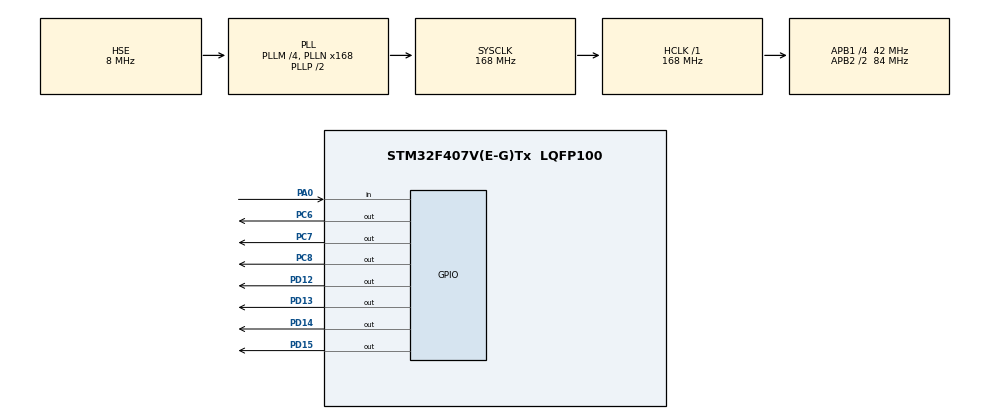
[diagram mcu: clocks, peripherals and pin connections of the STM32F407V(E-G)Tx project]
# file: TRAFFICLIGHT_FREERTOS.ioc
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FREERTOS.BinarySemaphores01=myBinarySem01,Dynamic,NULL
FREERTOS.Mutexes01=myMutex01,Dynamic,NULL
FREERTOS.Tasks01=first_road,0,128,StartDefaultTask,Default,NULL,Dynamic,NULL,NULL;second_road,0,128,StartTask02,Default,NULL,Dynamic,NULL,NULL;human_priority,-3,128,StartTask03,Default,NULL,Dynamic,NULL,NULL
FREERTOS.configUSE_NEWLIB_REENTRANT=1
Mcu.Family=STM32F4
Mcu.Name=STM32F407V(E-G)Tx
Mcu.Package=LQFP100
NVIC.PriorityGroup=NVIC_PRIORITYGROUP_4
NVIC.TIM1_UP_TIM10_IRQn=true\:15\:0\:false\:false\:true\:false\:false\:true\:true
NVIC.TimeBase=TIM1_UP_TIM10_IRQn
NVIC.TimeBaseIP=TIM1
PA0-WKUP.Signal=GPIO_Input
PA13.Mode=Serial_Wire
PA13.Signal=SYS_JTMS-SWDIO
PA14.Mode=Serial_Wire
PA14.Signal=SYS_JTCK-SWCLK
PC6.Signal=GPIO_Output
PC7.Signal=GPIO_Output
PC8.Signal=GPIO_Output
PD12.Signal=GPIO_Output
PD13.Signal=GPIO_Output
PD14.Signal=GPIO_Output
PD15.Signal=GPIO_Output
PH0-OSC_IN.Mode=HSE-External-Oscillator
PH0-OSC_IN.Signal=RCC_OSC_IN
PH1-OSC_OUT.Mode=HSE-External-Oscillator
PH1-OSC_OUT.Signal=RCC_OSC_OUT
ProjectManager.HeapSize=0x200
ProjectManager.StackSize=0x400
ProjectManager.TargetToolchain=STM32CubeIDE
RCC.48MHZClocksFreq_Value=84000000
RCC.AHBFreq_Value=168000000
RCC.APB1CLKDivider=RCC_HCLK_DIV4
RCC.APB1Freq_Value=42000000
RCC.APB1TimFreq_Value=84000000
RCC.APB2CLKDivider=RCC_HCLK_DIV2
RCC.APB2Freq_Value=84000000
RCC.APB2TimFreq_Value=168000000
RCC.CortexFreq_Value=168000000
RCC.HCLKFreq_Value=168000000
RCC.HSE_VALUE=8000000
RCC.HSI_VALUE=16000000
RCC.LSE_VALUE=32768
RCC.PLLM=4
RCC.PLLN=168
RCC.PLLSourceVirtual=RCC_PLLSOURCE_HSE
RCC.SYSCLKFreq_VALUE=168000000
RCC.SYSCLKSource=RCC_SYSCLKSOURCE_PLLCLK
RCC.VCOOutputFreq_Value=336000000
VP_FREERTOS_VS_CMSIS_V1.Mode=CMSIS_V1
VP_SYS_VS_tim1.Mode=TIM1
board=custom

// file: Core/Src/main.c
/* USER CODE BEGIN Header */
/**
  ******************************************************************************
  * @file           : main.c
  * @brief          : Main program body
  ******************************************************************************
  * @attention
  *
  * Copyright (c) 2024 STMicroelectronics.
  * All rights reserved.
  *
  * This software is licensed under terms that can be found in the LICENSE file
  * in the root directory of this software component.
  * If no LICENSE file comes with this software, it is provided AS-IS.
  *
  ******************************************************************************
  */
/* USER CODE END Header */
#include "main.h"
#include "cmsis_os.h"

osThreadId first_roadHandle;
osThreadId second_roadHandle;
osThreadId human_priorityHandle;
osMutexId myMutex01Handle;
osSemaphoreId myBinarySem01Handle;

void SystemClock_Config(void);
static void MX_GPIO_Init(void);
void StartDefaultTask(void const * argument);
void StartTask02(void const * argument);
void StartTask03(void const * argument);

int main(void)
{

  /* MCU Configuration--------------------------------------------------------*/

  /* Reset of all peripherals, Initializes the Flash interface and the Systick. */
  HAL_Init();

  /* Configure the system clock */
  SystemClock_Config();

  /* Initialize all configured peripherals */
  MX_GPIO_Init();

  /* Create the mutex(es) */
  /* definition and creation of myMutex01 */
  osMutexDef(myMutex01);
  myMutex01Handle = osMutexCreate(osMutex(myMutex01));

  /* Create the semaphores(s) */
  /* definition and creation of myBinarySem01 */
  osSemaphoreDef(myBinarySem01);
  myBinarySem01Handle = osSemaphoreCreate(osSemaphore(myBinarySem01), 1);

  /* Create the thread(s) */
  /* definition and creation of first_road */
  osThreadDef(first_road, StartDefaultTask, osPriorityNormal, 0, 128);
  first_roadHandle = osThreadCreate(osThread(first_road), NULL);

  /* definition and creation of second_road */
  osThreadDef(second_road, StartTask02, osPriorityNormal, 0, 128);
  second_roadHandle = osThreadCreate(osThread(second_road), NULL);

  /* definition and creation of human_priority */
  osThreadDef(human_priority, StartTask03, osPriorityIdle, 0, 128);
  human_priorityHandle = osThreadCreate(osThread(human_priority), NULL);

  /* Start scheduler */
  osKernelStart();

  /* We should never get here as control is now taken by the scheduler */

  /* Infinite loop */
  while (1)
  {

    /* USER CODE BEGIN 3 */
	  HAL_GPIO_TogglePin(GPIOC,GPIO_PIN_6);
	  HAL_Delay(1000);
  }
  /* USER CODE END 3 */
}

void SystemClock_Config(void)
{
  RCC_OscInitTypeDef RCC_OscInitStruct = {0};
  RCC_ClkInitTypeDef RCC_ClkInitStruct = {0};

  /** Configure the main internal regulator output voltage
  */
  __HAL_RCC_PWR_CLK_ENABLE();
  __HAL_PWR_VOLTAGESCALING_CONFIG(PWR_REGULATOR_VOLTAGE_SCALE1);

  /** Initializes the RCC Oscillators according to the specified parameters
  * in the RCC_OscInitTypeDef structure.
  */
  RCC_OscInitStruct.OscillatorType = RCC_OSCILLATORTYPE_HSE;
  RCC_OscInitStruct.HSEState = RCC_HSE_ON;
  RCC_OscInitStruct.PLL.PLLState = RCC_PLL_ON;
  RCC_OscInitStruct.PLL.PLLSource = RCC_PLLSOURCE_HSE;
  RCC_OscInitStruct.PLL.PLLM = 4;
  RCC_OscInitStruct.PLL.PLLN = 168;
  RCC_OscInitStruct.PLL.PLLP = RCC_PLLP_DIV2;
  RCC_OscInitStruct.PLL.PLLQ = 4;
  if (HAL_RCC_OscConfig(&RCC_OscInitStruct) != HAL_OK)
  {
    Error_Handler();
  }

  /** Initializes the CPU, AHB and APB buses clocks
  */
  RCC_ClkInitStruct.ClockType = RCC_CLOCKTYPE_HCLK|RCC_CLOCKTYPE_SYSCLK
                              |RCC_CLOCKTYPE_PCLK1|RCC_CLOCKTYPE_PCLK2;
  RCC_ClkInitStruct.SYSCLKSource = RCC_SYSCLKSOURCE_PLLCLK;
  RCC_ClkInitStruct.AHBCLKDivider = RCC_SYSCLK_DIV1;
  RCC_ClkInitStruct.APB1CLKDivider = RCC_HCLK_DIV4;
  RCC_ClkInitStruct.APB2CLKDivider = RCC_HCLK_DIV2;

  if (HAL_RCC_ClockConfig(&RCC_ClkInitStruct, FLASH_LATENCY_5) != HAL_OK)
  {
    Error_Handler();
  }
}

static void MX_GPIO_Init(void)
{
  GPIO_InitTypeDef GPIO_InitStruct = {0};

  /* GPIO Ports Clock Enable */
  __HAL_RCC_GPIOH_CLK_ENABLE();
  __HAL_RCC_GPIOA_CLK_ENABLE();
  __HAL_RCC_GPIOD_CLK_ENABLE();
  __HAL_RCC_GPIOC_CLK_ENABLE();

  /*Configure GPIO pin Output Level */
  HAL_GPIO_WritePin(GPIOD, GPIO_PIN_12|GPIO_PIN_13|GPIO_PIN_14|GPIO_PIN_15, GPIO_PIN_RESET);

  /*Configure GPIO pin Output Level */
  HAL_GPIO_WritePin(GPIOC, GPIO_PIN_6|GPIO_PIN_7|GPIO_PIN_8, GPIO_PIN_RESET);

  /*Configure GPIO pin : PA0 */
  GPIO_InitStruct.Pin = GPIO_PIN_0;
  GPIO_InitStruct.Mode = GPIO_MODE_INPUT;
  GPIO_InitStruct.Pull = GPIO_NOPULL;
  HAL_GPIO_Init(GPIOA, &GPIO_InitStruct);

  /*Configure GPIO pins : PD12 PD13 PD14 PD15 */
  GPIO_InitStruct.Pin = GPIO_PIN_12|GPIO_PIN_13|GPIO_PIN_14|GPIO_PIN_15;
  GPIO_InitStruct.Mode = GPIO_MODE_OUTPUT_PP;
  GPIO_InitStruct.Pull = GPIO_NOPULL;
  GPIO_InitStruct.Speed = GPIO_SPEED_FREQ_LOW;
  HAL_GPIO_Init(GPIOD, &GPIO_InitStruct);

  /*Configure GPIO pins : PC6 PC7 PC8 */
  GPIO_InitStruct.Pin = GPIO_PIN_6|GPIO_PIN_7|GPIO_PIN_8;
  GPIO_InitStruct.Mode = GPIO_MODE_OUTPUT_PP;
  GPIO_InitStruct.Pull = GPIO_NOPULL;
  GPIO_InitStruct.Speed = GPIO_SPEED_FREQ_LOW;
  HAL_GPIO_Init(GPIOC, &GPIO_InitStruct);

}

void StartDefaultTask(void const * argument)
{
  /* USER CODE BEGIN 5 */
  /* Infinite loop */
  for(;;)
  {
	  HAL_GPIO_WritePin(GPIOD, GPIO_PIN_14, GPIO_PIN_RESET); // Red off
	  HAL_GPIO_WritePin(GPIOD, GPIO_PIN_13, GPIO_PIN_RESET); // Yellow off

	  osSemaphoreRelease(myBinarySem01Handle); // Release semaphore for Traffic Light 2
	  HAL_Delay(2000);

	  HAL_GPIO_WritePin(GPIOD, GPIO_PIN_12, GPIO_PIN_SET); // Green on
	  HAL_Delay(5000);

	  HAL_GPIO_WritePin(GPIOD, GPIO_PIN_12, GPIO_PIN_RESET); // Green off
	  HAL_GPIO_WritePin(GPIOD, GPIO_PIN_13, GPIO_PIN_SET); // Yellow on
	  HAL_Delay(1000);

	  HAL_GPIO_WritePin(GPIOD, GPIO_PIN_13, GPIO_PIN_RESET); // Yellow off

	  osSemaphoreWait(myBinarySem01Handle, 100); // Wait for semaphore
	  HAL_GPIO_WritePin(GPIOD, GPIO_PIN_14, GPIO_PIN_SET); // Red on
	  HAL_Delay(5000);

	  HAL_GPIO_WritePin(GPIOD, GPIO_PIN_13, GPIO_PIN_SET); // Yellow on
	  HAL_Delay(1000);

  }
  /* USER CODE END 5 */
}

void StartTask02(void const * argument)
{
  /* USER CODE BEGIN StartTask02 */
  /* Infinite loop */
  for(;;)
  {
	  osSemaphoreWait(myBinarySem01Handle, 100); // Wait for semaphore
	  HAL_Delay(1000);

	  HAL_GPIO_WritePin(GPIOC, GPIO_PIN_8, GPIO_PIN_RESET); // Green off
	  HAL_GPIO_WritePin(GPIOC, GPIO_PIN_7, GPIO_PIN_SET); // Yellow on
	  HAL_Delay(1000);

	  HAL_GPIO_WritePin(GPIOC, GPIO_PIN_7, GPIO_PIN_RESET); // Yellow off
	  HAL_GPIO_WritePin(GPIOC, GPIO_PIN_6, GPIO_PIN_SET); // Red on
	  HAL_Delay(5000);

	  HAL_GPIO_WritePin(GPIOC, GPIO_PIN_7, GPIO_PIN_SET); // Yellow on
	  HAL_Delay(1000);

	  HAL_GPIO_WritePin(GPIOC, GPIO_PIN_6, GPIO_PIN_RESET); // Red off
	  HAL_GPIO_WritePin(GPIOC, GPIO_PIN_7, GPIO_PIN_RESET); // Yellow off

	  HAL_GPIO_WritePin(GPIOC, GPIO_PIN_8, GPIO_PIN_SET); // Green on
	  HAL_Delay(5000);

	  osSemaphoreRelease(myBinarySem01Handle); // Release semaphore for Traffic Light 1
  }
  /* USER CODE END StartTask02 */
}

void StartTask03(void const * argument)
{
  /* USER CODE BEGIN StartTask03 */
  /* Infinite loop */
  for(;;)
  {
	  // HAL_GPIO_TogglePin(GPIOD,GPIO_PIN_14); // rot

    osDelay(1000);
  }
  /* USER CODE END StartTask03 */
}

void HAL_TIM_PeriodElapsedCallback(TIM_HandleTypeDef *htim)
{
  if (htim->Instance == TIM1) {
    HAL_IncTick();
  }
}

void Error_Handler(void)
{
  __disable_irq();
  while (1)
  {
  }
}
